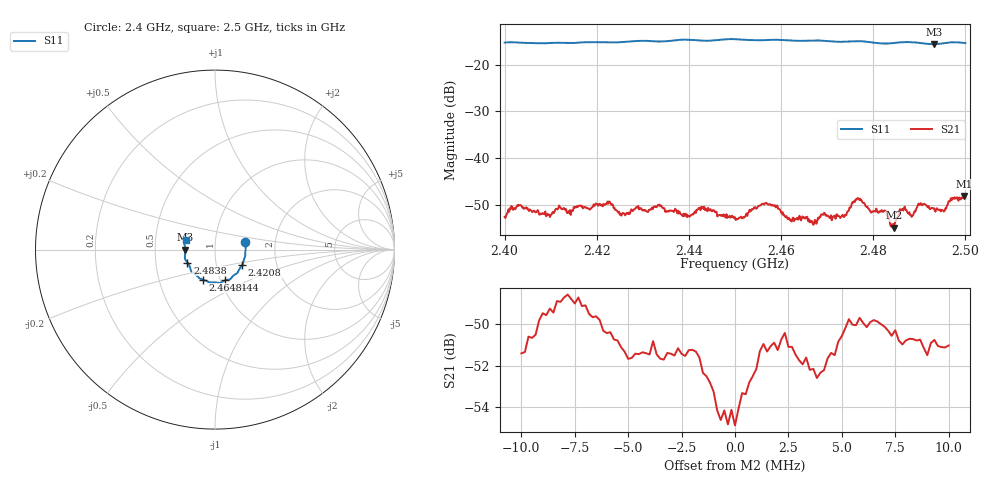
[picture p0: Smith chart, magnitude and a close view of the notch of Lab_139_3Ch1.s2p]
# Hz S RI R 50
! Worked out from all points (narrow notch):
!   601 points, 2.4 GHz to 2.5 GHz, reference 50 ohm
!   highest |S21| = -48.15 dB at 2.4997 GHz (marker M1); lowest = -54.9 dB at 2.4845 GHz (marker M2)
!   notch at M2: 3.7 dB deep, 1.67 MHz wide at half that depth
!   lowest |S11| = -15.6 dB at 2.4932 GHz (marker M3), VSWR 1.40, Z = 35.8 - j0.0653 ohm
!   |S11| at or under -10 dB: start of sweep to end of sweep
!   S12 and S22 are empty: the file has one direction only
!   S11 on the Smith chart (normalised r, x): 2.4 GHz: 1.40, +0.12; 2.4208 GHz: 1.33, -0.24; 2.444 GHz: 1.06, -0.37; 2.4648 GHz: 0.83, -0.29; 2.4838 GHz: 0.73, -0.11; 2.5 GHz: 0.72, +0.08
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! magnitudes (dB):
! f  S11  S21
! 2.4 GHz  -15.3  -52.6
! 2.4032 GHz  -15.3  -50.0
! 2.4095 GHz  -15.4  -52.1
! 2.4167 GHz  -15.2  -50.4
! 2.4208 GHz  -15.2  -50.1
! 2.4258 GHz  -15.1  -51.8
! 2.4333 GHz  -15.0  -50.0
! 2.4398 GHz  -14.6  -52.3
! 2.444 GHz  -14.9  -51.4
! 2.45 GHz  -14.5  -52.7
! 2.4565 GHz  -14.7  -49.7
! 2.4648 GHz  -14.9  -52.8
! 2.4667 GHz  -14.8  -53.5
! 2.4737 GHz  -15.1  -52.6
! 2.4767 GHz  -15.0  -48.5
! 2.4833 GHz  -15.5  -52.8
! 2.4838 GHz  -15.4  -54.6
! 2.4845 GHz  -15.3  -54.9
! 2.4863 GHz  -15.2  -50.9
! 2.4932 GHz  -15.6  -50.7
! 2.4997 GHz  -15.3  -48.1
! 2.5 GHz  -15.4  -48.5
